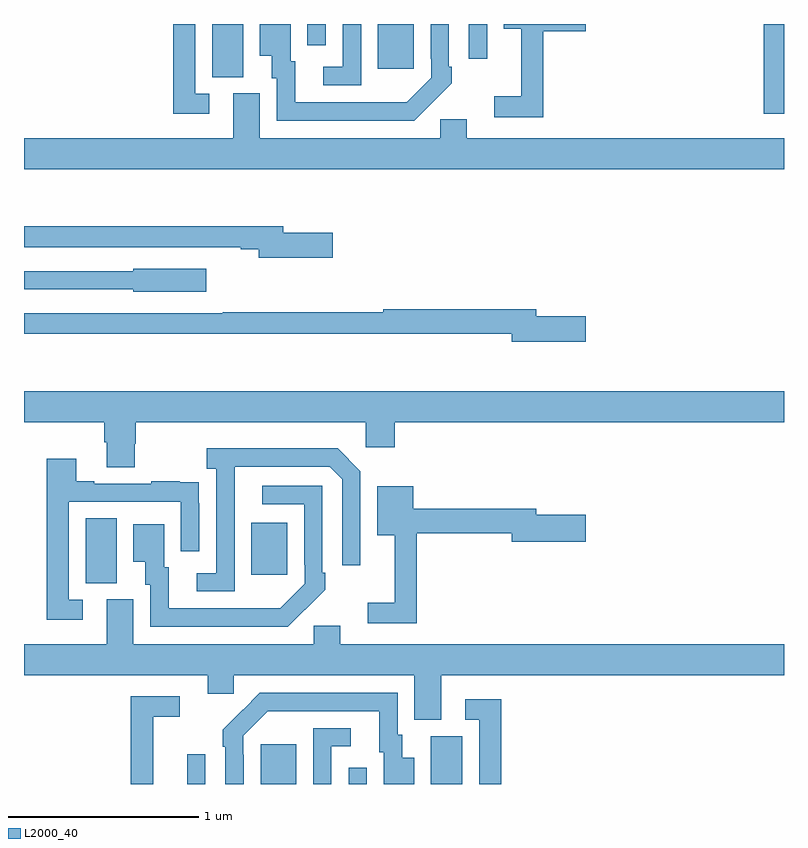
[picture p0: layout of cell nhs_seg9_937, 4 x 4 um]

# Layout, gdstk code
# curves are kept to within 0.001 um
import gdstk
lib = gdstk.Library(unit=1e-6, precision=1e-09)
def R(c, l, rs):  # rectangles x0, y0, x1, y1
    for r in rs: c.add(gdstk.rectangle(r[:2], r[2:], *l))
def P(c, l, *ps):  # polygons
    for p in ps: c.add(gdstk.Polygon(p, *l))
L2000_40 = (2000, 40)

nhs_seg9_937 = lib.new_cell('nhs_seg9_937')
R(nhs_seg9_937, L2000_40, [(161.859,1210.5,161.955,1210.657), (162.245,1210.5,162.433,1210.708), (162.708,1210.5,162.804,1210.585), (163.142,1210.5,163.306,1210.752), (161.324,1211.557,161.488,1211.9), (162.197,1211.601,162.385,1211.875), (164.893,1214.028,165,1214.5), (161.99,1214.221,162.154,1214.5), (162.863,1214.265,163.051,1214.5), (163.341,1214.316,163.437,1214.5), (162.492,1214.388,162.588,1214.5)])
P(nhs_seg9_937, L2000_40, [(163.145,1214.083),(163.146,1214.082),(163.251,1214.187),(163.251,1214.275),(163.236,1214.275),(163.236,1214.5),(163.14,1214.5),(163.14,1214.317),(163.143,1214.317),(163.143,1214.217),(163.015,1214.089),(162.911,1214.088),(162.427,1214.088),(162.427,1214.304),(162.403,1214.304),(162.403,1214.5),(162.242,1214.5),(162.242,1214.333),(162.305,1214.333),(162.305,1214.214),(162.33,1214.214),(162.33,1213.992),(163.054,1213.992)],
  [(161.974,1214.133),(161.901,1214.133),(161.901,1214.5),(161.785,1214.5),(161.785,1214.028),(161.974,1214.028)],
  [(162.774,1214.5),(162.678,1214.5),(162.678,1214.274),(162.576,1214.274),(162.576,1214.178),(162.774,1214.178)],
  [(163.733,1214.462),(163.957,1214.462),(163.957,1214.5),(163.526,1214.5),(163.526,1214.474),(163.616,1214.474),(163.616,1214.119),(163.476,1214.119),(163.476,1214.01),(163.733,1214.01)],
  [(165,1213.9),(163.33,1213.9),(163.33,1213.998),(163.191,1213.998),(163.191,1213.9),(162.241,1213.9),(162.241,1214.136),(162.101,1214.136),(162.101,1213.9),(161,1213.9),(161,1213.736),(165,1213.736)],
  [(162.625,1213.401),(162.364,1213.401),(162.364,1213.435),(161,1213.435),(161,1213.326),(162.14,1213.326),(162.14,1213.314),(162.236,1213.314),(162.236,1213.271),(162.625,1213.271)],
  [(161.959,1213.213),(161.574,1213.213),(161.574,1213.2),(161,1213.2),(161,1213.104),(161.574,1213.104),(161.574,1213.091),(161.959,1213.091)],
  [(163.957,1212.962),(163.696,1212.962),(163.696,1212.998),(162.892,1212.998),(162.892,1212.983),(162.046,1212.983),(162.046,1212.978),(161,1212.978),(161,1212.87),(163.568,1212.87),(163.568,1212.827),(163.957,1212.827)],
  [(161.583,1212.291),(161.588,1212.291),(161.588,1212.404),(162.798,1212.404),(162.798,1212.273),(162.95,1212.273),(162.95,1212.404),(165,1212.404),(165,1212.568),(161,1212.568),(161,1212.404),(161.423,1212.404),(161.423,1212.298),(161.435,1212.298),(161.435,1212.166),(161.583,1212.166)],
  [(162.108,1211.971),(162.109,1212.171),(162.609,1212.171),(162.675,1212.105),(162.675,1211.652),(162.771,1211.652),(162.771,1212.147),(162.65,1212.268),(161.961,1212.268),(161.961,1212.158),(162.012,1212.158),(162.012,1211.61),(161.91,1211.61),(161.91,1211.514),(162.108,1211.514)],
  [(161.308,1211.469),(161.235,1211.469),(161.235,1211.985),(161.826,1211.985),(161.826,1211.724),(161.922,1211.724),(161.922,1211.978),(161.921,1211.978),(161.921,1212.087),(161.819,1212.087),(161.819,1212.094),(161.671,1212.094),(161.671,1212.081),(161.371,1212.081),(161.371,1212.094),(161.275,1212.094),(161.275,1212.211),(161.119,1212.211),(161.119,1211.364),(161.308,1211.364)],
  [(162.479,1211.419),(162.48,1211.418),(162.585,1211.523),(162.585,1211.611),(162.57,1211.611),(162.57,1212.069),(162.255,1212.069),(162.255,1211.973),(162.474,1211.973),(162.474,1211.653),(162.477,1211.653),(162.477,1211.553),(162.349,1211.425),(161.761,1211.424),(161.761,1211.64),(161.737,1211.64),(161.737,1211.866),(161.576,1211.866),(161.576,1211.669),(161.639,1211.669),(161.639,1211.55),(161.664,1211.55),(161.664,1211.328),(162.388,1211.328)],
  [(163.067,1211.821),(163.568,1211.821),(163.568,1211.774),(163.957,1211.774),(163.957,1211.916),(163.696,1211.916),(163.696,1211.95),(163.048,1211.95),(163.048,1212.067),(162.86,1212.067),(162.86,1211.81),(162.95,1211.81),(162.95,1211.455),(162.81,1211.455),(162.81,1211.346),(163.067,1211.346)],
  [(162.664,1211.334),(162.525,1211.334),(162.525,1211.236),(161.575,1211.236),(161.575,1211.472),(161.435,1211.472),(161.435,1211.236),(161,1211.236),(161,1211.072),(161.966,1211.072),(161.966,1210.974),(162.105,1210.974),(162.105,1211.072),(163.055,1211.072),(163.055,1210.837),(163.195,1210.837),(163.195,1211.072),(165,1211.072),(165,1211.236),(162.664,1211.236)],
  [(162.156,1210.655),(162.153,1210.655),(162.153,1210.755),(162.282,1210.884),(162.869,1210.884),(162.869,1210.668),(162.893,1210.668),(162.893,1210.5),(163.054,1210.5),(163.054,1210.639),(162.991,1210.639),(162.991,1210.758),(162.966,1210.758),(162.966,1210.98),(162.242,1210.98),(162.045,1210.785),(162.045,1210.697),(162.06,1210.697),(162.06,1210.5),(162.156,1210.5)],
  [(161.681,1210.854),(161.821,1210.854),(161.821,1210.962),(161.563,1210.962),(161.563,1210.5),(161.681,1210.5)],
  [(163.511,1210.945),(163.323,1210.945),(163.323,1210.839),(163.395,1210.839),(163.395,1210.5),(163.511,1210.5)],
  [(162.618,1210.698),(162.721,1210.698),(162.721,1210.794),(162.522,1210.794),(162.522,1210.5),(162.618,1210.5)])

lib.write_gds('nhs_seg9_937.gds')
